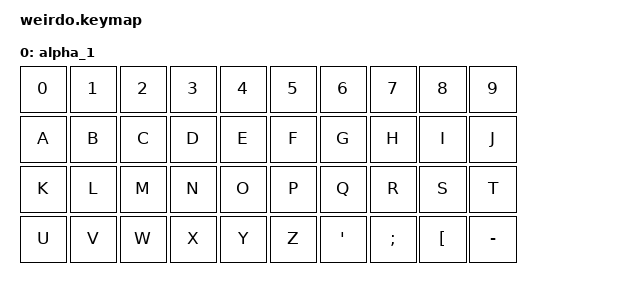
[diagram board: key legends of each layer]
/*
 * Copyright (c) 2021 The ZMK Contributors
 *
 * SPDX-License-Identifier: MIT
 */

#include <behaviors.dtsi>
#include <dt-bindings/zmk/keys.h>
#include <dt-bindings/zmk/bt.h>
#include <dt-bindings/zmk/ext_power.h>

/* GERMAN KEY CODES */
#define DE_CIRC GRAVE // ^ (dead)
#define DE_SS   MINUS // ß
#define DE_ACUT EQUAL // ´ (dead)
#define DE_Q    Q            // Q
#define DE_W    W            // W
#define DE_E    E            // E
#define DE_R    R            // R
#define DE_T    T            // T
#define DE_Z    Y            // Z
#define DE_U    U            // U
#define DE_I    I            // I
#define DE_O    O            // O
#define DE_P    P            // P
#define DE_UDIA LEFT_BRACKET // Ü
#define DE_PLUS RIGHT_BRACKET // +
#define DE_A    A            // A
#define DE_S    S            // S
#define DE_D    D            // D
#define DE_F    F            // F
#define DE_G    G            // G
#define DE_H    H            // H
#define DE_J    J            // J
#define DE_K    K            // K
#define DE_L    L            // L
#define DE_ODIA SEMICOLON    // Ö
#define DE_ADIA SINGLE_QUOTE // Ä
#define DE_HASH NON_US_HASH  // #
#define DE_LABK NON_US_BACKSLASH // <
#define DE_Y    Z                // Y
#define DE_X    X                // X
#define DE_C    C                // C
#define DE_V    V                // V
#define DE_B    B                // B
#define DE_N    N                // N
#define DE_M    M                // M
#define DE_COMM COMMA            // ,
#define DE_DOT  PERIOD           // .
#define DE_MINS SLASH            // -
#define DE_DEG  LS(DE_CIRC) // °
#define DE_EXLM LS(NUMBER_1)    // !
#define DE_DQUO LS(NUMBER_2)    // "
#define DE_SECT LS(NUMBER_3)    // §
#define DE_DLR  LS(NUMBER_4)    // $
#define DE_PERC LS(NUMBER_5)    // %
#define DE_AMPR LS(NUMBER_6)    // &
#define DE_SLSH LS(NUMBER_7)    // /
#define DE_LPRN LS(NUMBER_8)    // (
#define DE_RPRN LS(NUMBER_9)    // )
#define DE_EQL  LS(NUMBER_0)    // =
#define DE_QUES LS(DE_SS)   // ?
#define DE_GRV  LS(DE_ACUT) // ` (dead)
#define DE_ASTR LS(DE_PLUS) // *
#define DE_QUOT LS(DE_HASH) // '
#define DE_RABK LS(DE_LABK) // >
#define DE_SCLN LS(DE_COMM) // ;
#define DE_COLN LS(DE_DOT)  // :
#define DE_UNDS LS(DE_MINS) // _
#define DE_LBRC LA(NUMBER_5)    // [
#define DE_RBRC LA(NUMBER_6)    // ]
#define DE_PIPE LA(NUMBER_7)    // |
#define DE_LCBR LA(NUMBER_8)    // {
#define DE_RCBR LA(NUMBER_9)    // }
#define DE_AT LA(DE_L)    // @
#define DE_EURO LA(DE_E)    // €
#define DE_TILD LA(DE_N)    // ~
#define DE_BSLS LS(LA(NUMBER_7))    // (backslash)

#define DEFAULT 0
#define ALPHA_1 DEFAULT
#define ALPHA_2 1
#define SY1 2
#define SY2 3
#define NUM 4
#define NAV 5
#define MED 6
#define FUN 7
#define UML 8
#define SYS 9
#define LVL 10
#define MOU 11
                                     
#define HOLD_TAP_TIME 200
#define _____ &none
#define HYPER LC(LG(LS(LALT)))

/ {
  keymap {
    compatible = "zmk,keymap";

    // This is a sample keymap intended to be replaced with your own
    alpha_1 {
      bindings = <
        &kp N0 &kp N1 &kp N2 &kp N3 &kp N4 &kp N5 &kp N6      &kp N7      &kp N8      &kp N9
        &kp A  &kp B  &kp C  &kp D  &kp E  &kp F  &kp G       &kp H       &kp I       &kp J
        &kp K  &kp L  &kp M  &kp N  &kp O  &kp P  &kp Q       &kp R       &kp S       &kp T 
        &kp U  &kp V  &kp W  &kp X  &kp Y  &kp Z  &kp DE_ADIA &kp DE_ODIA &kp DE_UDIA &kp DE_SS
      >;
    };


  };
};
